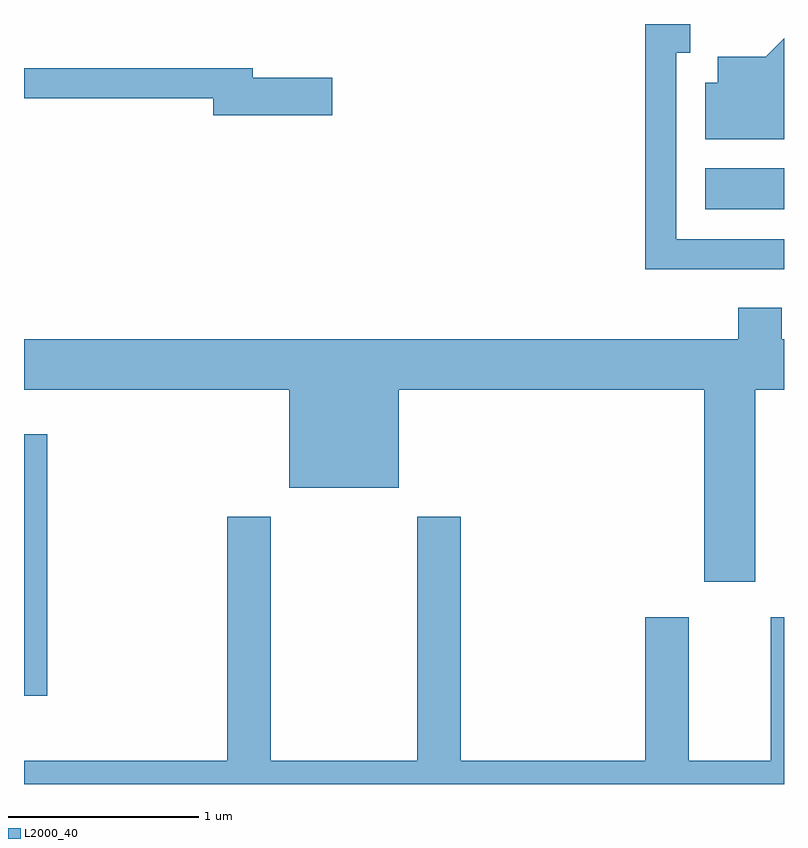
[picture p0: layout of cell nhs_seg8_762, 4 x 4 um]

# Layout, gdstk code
import gdstk
lib = gdstk.Library(unit=1e-6, precision=1e-09)
def R(c, l, rs):  # rectangles x0, y0, x1, y1
    for r in rs: c.add(gdstk.rectangle(r[:2], r[2:], *l))
def P(c, l, *ps):  # polygons
    for p in ps: c.add(gdstk.Polygon(p, *l))
L2000_40 = (2000, 40)

nhs_seg8_762 = lib.new_cell('nhs_seg8_762')
R(nhs_seg8_762, L2000_40, [(207.611,1834.806,207.734,1836.184), (211.196,1837.366,211.611,1837.584)])
P(nhs_seg8_762, L2000_40, [(211.611,1837.209),(211.044,1837.209),(211.044,1838.191),(211.118,1838.191),(211.118,1838.342),(210.881,1838.342),(210.881,1837.051),(211.611,1837.051)],
  [(211.611,1838.266),(211.514,1838.169),(211.261,1838.169),(211.261,1838.034),(211.196,1838.034),(211.196,1837.736),(211.611,1837.736)],
  [(209.234,1838.059),(208.814,1838.059),(208.814,1838.109),(207.611,1838.109),(207.611,1837.951),(208.606,1837.951),(208.606,1837.861),(209.234,1837.861)],
  [(211.459,1836.416),(211.611,1836.416),(211.611,1836.684),(211.599,1836.684),(211.599,1836.849),(211.371,1836.849),(211.371,1836.684),(207.611,1836.684),(207.611,1836.416),(209.006,1836.416),(209.006,1835.901),(209.584,1835.901),(209.584,1836.416),(211.191,1836.416),(211.191,1835.406),(211.459,1835.406)],
  [(211.611,1835.219),(211.541,1835.219),(211.541,1834.464),(211.109,1834.464),(211.109,1835.219),(210.881,1835.219),(210.881,1834.464),(209.909,1834.464),(209.909,1835.749),(209.681,1835.749),(209.681,1834.464),(208.909,1834.464),(208.909,1835.749),(208.681,1835.749),(208.681,1834.464),(207.611,1834.464),(207.611,1834.342),(211.611,1834.342)])

lib.write_gds('nhs_seg8_762.gds')
